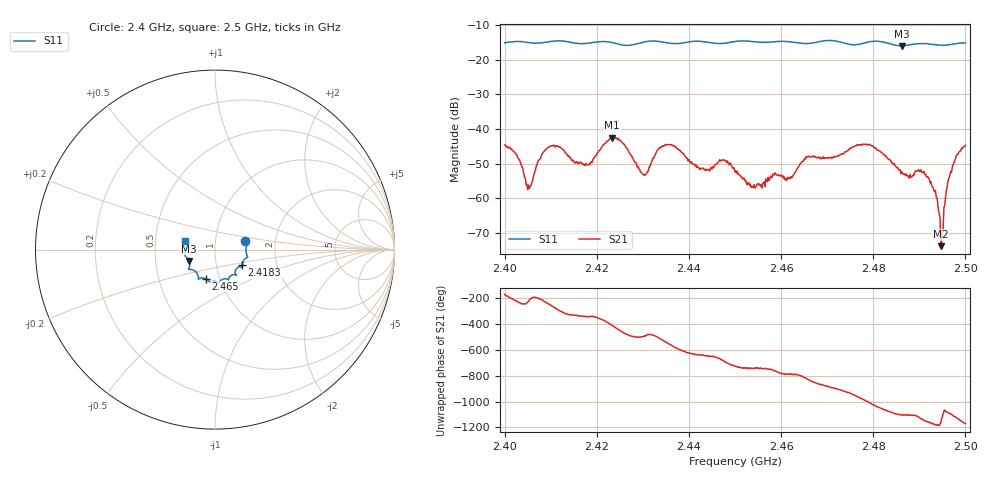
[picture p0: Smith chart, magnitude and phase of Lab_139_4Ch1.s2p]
# Hz S RI R 50
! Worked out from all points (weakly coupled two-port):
!   601 points, 2.4 GHz to 2.5 GHz, reference 50 ohm
!   highest |S21| = -42.48 dB at 2.4233 GHz (marker M1); lowest = -73.8 dB at 2.4947 GHz (marker M2)
!   lowest |S11| = -16.0 dB at 2.4862 GHz (marker M3), VSWR 1.38, Z = 37.1 - j4.8 ohm
!   |S11| at or under -10 dB: start of sweep to end of sweep
!   S12 and S22 are empty: the file has one direction only
!   S11 on the Smith chart (normalised r, x): 2.4 GHz: 1.40, +0.13; 2.4183 GHz: 1.33, -0.24; 2.465 GHz: 0.86, -0.29; 2.5 GHz: 0.71, +0.07
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2.4e9  0.1691 0.0454  -0.00575 -0.00101  0 0  0 0
2.402833e9  0.1797 0.0327  -0.00268 0.00276  0 0  0 0
2.405167e9  0.1753 0.0171  -0.00112 0.00108  0 0  0 0
2.409833e9  0.1785 -0.0335  -0.00188 0.00532  0 0  0 0
2.416667e9  0.1549 -0.0684  0.003 0.00122  0 0  0 0
2.418333e9  0.1498 -0.0869  0.00293 0.00101  0 0  0 0
2.423333e9  0.1473 -0.097  0.00504 -0.00557  0 0  0 0
2.430167e9  0.1141 -0.1378  -0.00157 -0.00156  0 0  0 0
2.433333e9  0.1169 -0.1412  -0.00405 -0.00304  0 0  0 0
2.45e9  0.0252 -0.1806  0.00239 -0.00021  0 0  0 0
2.454e9  0.0142 -0.1808  0.00133 -0.000494  0 0  0 0
2.462167e9  -0.0331 -0.1765  0.000794 -0.0019  0 0  0 0
2.465e9  -0.0527 -0.1621  -9.02e-05 -0.00367  0 0  0 0
2.466667e9  -0.0713 -0.1575  -0.00209 -0.00334  0 0  0 0
2.478167e9  -0.1346 -0.1109  4.48e-05 0.00602  0 0  0 0
2.483333e9  -0.1422 -0.096  0.00363 0.000302  0 0  0 0
2.486167e9  -0.1447 -0.0631  0.00222 -0.000907  0 0  0 0
2.4915e9  -0.1671 -0.0308  0.00062 -0.002  0 0  0 0
2.4935e9  -0.163 -0.0141  -0.000264 -0.00127  0 0  0 0
2.494667e9  -0.1609 3.87e-05  2.64e-05 -0.000202  0 0  0 0
2.496667e9  -0.1629 0.024  0.00217 -0.000485  0 0  0 0
2.5e9  -0.1669 0.0476  -4.15e-05 -0.0058  0 0  0 0
